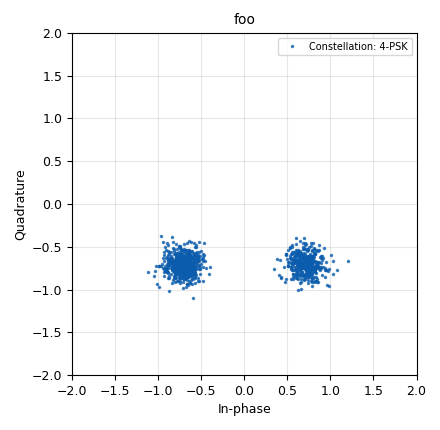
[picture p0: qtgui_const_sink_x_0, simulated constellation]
<?xml version='1.0' encoding='utf-8'?>
<?grc format='1' created='3.7.12'?>
<flow_graph>
<block>
<key>options</key>
<param><key>id</key><value>ber_simulation</value></param>
<param><key>author</key><value>Example</value></param>
<param><key>category</key><value>Custom</value></param>
<param><key>description</key><value>Adjust the noise and constellation... see what happens!</value></param>
<param><key>generate_options</key><value>qt_gui</value></param>
<param><key>title</key><value>BER Simulation</value></param>
</block>
<block>
<key>variable_qtgui_range</key>
<param><key>id</key><value>EbN0</value></param>
<param><key>value</key><value>10</value></param>
<param><key>label</key><value>Eb / N0 (dB)</value></param>
<param><key>orient</key><value>Qt.Horizontal</value></param>
<param><key>start</key><value>-10</value></param>
<param><key>step</key><value>1</value></param>
<param><key>stop</key><value>200</value></param>
</block>
<block>
<key>variable</key>
<param><key>id</key><value>const</value></param>
<param><key>value</key><value>(digital.constellation_bpsk(), digital.constellation_qpsk(), digital.constellation_8psk())</value></param>
</block>
<block>
<key>variable</key>
<param><key>id</key><value>const_type</value></param>
<param><key>value</key><value>1</value></param>
</block>
<block>
<key>variable</key>
<param><key>id</key><value>data_rate</value></param>
<param><key>value</key><value>system_samp_rate/16</value></param>
</block>
<block>
<key>variable</key>
<param><key>id</key><value>sample_size</value></param>
<param><key>value</key><value>int(10e6)</value></param>
</block>
<block>
<key>variable</key>
<param><key>id</key><value>system_samp_rate</value></param>
<param><key>value</key><value>131072</value></param>
</block>
<block>
<key>variable_qtgui_label</key>
<param><key>id</key><value>variable_qtgui_label_0</value></param>
<param><key>value</key><value>{0: 'BPSK', 1: 'QPSK', 2: '8-PSK'}[const_type] + " - Change const_type for different constellation types!"</value></param>
<param><key>label</key><value>Constellation Type</value></param>
<param><key>type</key><value>string</value></param>
</block>
<block>
<key>analog_noise_source_x</key>
<param><key>id</key><value>analog_noise_source_x</value></param>
<param><key>amp</key><value>1.0 / math.sqrt(2.0 * const[const_type].bits_per_symbol() * 10**(EbN0/10))</value></param>
<param><key>noise_type</key><value>analog.GR_GAUSSIAN</value></param>
<param><key>type</key><value>complex</value></param>
<param><key>seed</key><value>42</value></param>
</block>
<block>
<key>analog_random_source_x</key>
<param><key>id</key><value>analog_random_source_x_0</value></param>
<param><key>max</key><value>4</value></param>
<param><key>min</key><value>0</value></param>
<param><key>num_samps</key><value>sample_size</value></param>
<param><key>type</key><value>byte</value></param>
<param><key>repeat</key><value>True</value></param>
</block>
<block>
<key>analog_sig_source_x</key>
<param><key>id</key><value>analog_sig_source_x_0</value></param>
<param><key>amp</key><value>1</value></param>
<param><key>freq</key><value>data_rate</value></param>
<param><key>offset</key><value>0</value></param>
<param><key>type</key><value>float</value></param>
<param><key>samp_rate</key><value>system_samp_rate</value></param>
<param><key>waveform</key><value>analog.GR_COS_WAVE</value></param>
</block>
<block>
<key>blks2_error_rate</key>
<param><key>id</key><value>blks2_error_rate</value></param>
<param><key>bits_per_symbol</key><value>const[const_type].bits_per_symbol()</value></param>
<param><key>type</key><value>'BER'</value></param>
<param><key>win_size</key><value>sample_size</value></param>
</block>
<block>
<key>blocks_add_xx</key>
<param><key>id</key><value>blocks_add_xx</value></param>
<param><key>type</key><value>complex</value></param>
</block>
<block>
<key>blocks_peak_detector2_fb</key>
<param><key>id</key><value>blocks_peak_detector2_fb_0</value></param>
<param><key>alpha</key><value>0.001</value></param>
<param><key>look_ahead</key><value>1000</value></param>
<param><key>threshold_factor_rise</key><value>7</value></param>
</block>
<block>
<key>blocks_sample_and_hold_xx</key>
<param><key>id</key><value>blocks_sample_and_hold_xx_0</value></param>
<param><key>type</key><value>byte</value></param>
</block>
<block>
<key>digital_chunks_to_symbols_xx</key>
<param><key>id</key><value>digital_chunks_to_symbols_xx</value></param>
<param><key>dimension</key><value>1</value></param>
<param><key>in_type</key><value>byte</value></param>
<param><key>out_type</key><value>complex</value></param>
<param><key>symbol_table</key><value>const[1].points()</value></param>
</block>
<block>
<key>digital_constellation_decoder_cb</key>
<param><key>id</key><value>digital_constellation_decoder_cb_0</value></param>
<param><key>constellation</key><value>const[const_type].base()</value></param>
</block>
<block>
<key>import</key>
<param><key>id</key><value>import</value></param>
<param><key>import</key><value>import math</value></param>
</block>
<block>
<key>qtgui_const_sink_x</key>
<param><key>id</key><value>qtgui_const_sink_x_0</value></param>
<param><key>gui_hint</key><value>2,0,1,1</value></param>
<param><key>alpha1</key><value>0.6</value></param>
<param><key>label1</key><value>"Constellation: "+str(const[const_type].arity()) + "-PSK"</value></param>
<param><key>name</key><value>"foo"</value></param>
<param><key>size</key><value>1024</value></param>
<param><key>type</key><value>complex</value></param>
</block>
<block>
<key>qtgui_number_sink</key>
<param><key>id</key><value>qtgui_number_sink_0</value></param>
<param><key>autoscale</key><value>True</value></param>
<param><key>gui_hint</key><value>1,0,1,1</value></param>
<param><key>graph_type</key><value>qtgui.NUM_GRAPH_HORIZ</value></param>
<param><key>type</key><value>float</value></param>
<param><key>factor1</key><value>1e6</value></param>
<param><key>label1</key><value>BER</value></param>
<param><key>unit1</key><value>x10^-6</value></param>
<param><key>min</key><value>0</value></param>
</block>
<connection><source_block_id>analog_noise_source_x</source_block_id><sink_block_id>blocks_add_xx</sink_block_id><source_key>0</source_key><sink_key>1</sink_key></connection>
<connection><source_block_id>analog_random_source_x_0</source_block_id><sink_block_id>blocks_sample_and_hold_xx_0</sink_block_id><source_key>0</source_key><sink_key>0</sink_key></connection>
<connection><source_block_id>analog_sig_source_x_0</source_block_id><sink_block_id>blocks_peak_detector2_fb_0</sink_block_id><source_key>0</source_key><sink_key>0</sink_key></connection>
<connection><source_block_id>blks2_error_rate</source_block_id><sink_block_id>qtgui_number_sink_0</sink_block_id><source_key>0</source_key><sink_key>0</sink_key></connection>
<connection><source_block_id>blocks_add_xx</source_block_id><sink_block_id>digital_constellation_decoder_cb_0</sink_block_id><source_key>0</source_key><sink_key>0</sink_key></connection>
<connection><source_block_id>blocks_add_xx</source_block_id><sink_block_id>qtgui_const_sink_x_0</sink_block_id><source_key>0</source_key><sink_key>0</sink_key></connection>
<connection><source_block_id>blocks_peak_detector2_fb_0</source_block_id><sink_block_id>blocks_sample_and_hold_xx_0</sink_block_id><source_key>0</source_key><sink_key>1</sink_key></connection>
<connection><source_block_id>blocks_sample_and_hold_xx_0</source_block_id><sink_block_id>blks2_error_rate</sink_block_id><source_key>0</source_key><sink_key>0</sink_key></connection>
<connection><source_block_id>blocks_sample_and_hold_xx_0</source_block_id><sink_block_id>digital_chunks_to_symbols_xx</sink_block_id><source_key>0</source_key><sink_key>0</sink_key></connection>
<connection><source_block_id>digital_chunks_to_symbols_xx</source_block_id><sink_block_id>blocks_add_xx</sink_block_id><source_key>0</source_key><sink_key>0</sink_key></connection>
<connection><source_block_id>digital_constellation_decoder_cb_0</source_block_id><sink_block_id>blks2_error_rate</sink_block_id><source_key>0</source_key><sink_key>1</sink_key></connection>
</flow_graph>
